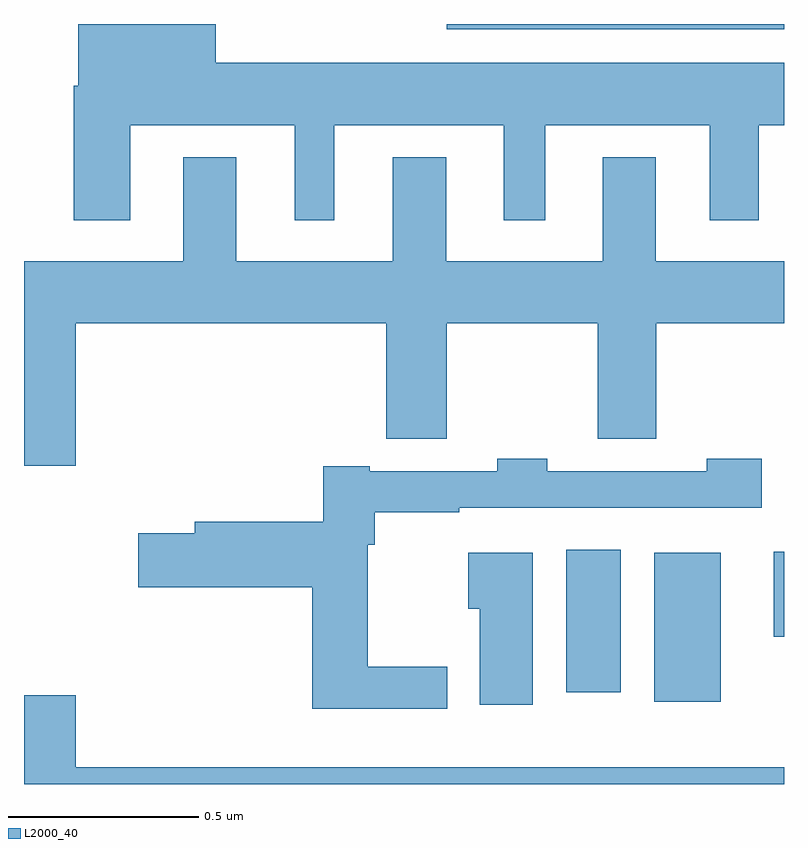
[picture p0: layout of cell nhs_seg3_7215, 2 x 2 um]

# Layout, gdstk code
import gdstk
lib = gdstk.Library(unit=1e-6, precision=1e-09)
def R(c, l, rs):  # rectangles x0, y0, x1, y1
    for r in rs: c.add(gdstk.rectangle(r[:2], r[2:], *l))
def P(c, l, *ps):  # polygons
    for p in ps: c.add(gdstk.Polygon(p, *l))
L2000_40 = (2000, 40)

nhs_seg3_7215 = lib.new_cell('nhs_seg3_7215')
R(nhs_seg3_7215, L2000_40, [(202.658,670.616,202.834,671.008), (202.427,670.641,202.57,671.017), (202.973,670.787,203,671.011), (202.113,672.386,203,672.4)])
P(nhs_seg3_7215, L2000_40, [(201.28,672.134),(201.713,672.134),(201.713,671.883),(201.817,671.883),(201.817,672.134),(202.262,672.134),(202.262,671.883),(202.372,671.883),(202.372,672.134),(202.805,672.134),(202.805,671.883),(202.933,671.883),(202.933,672.134),(203,672.134),(203,672.298),(201.505,672.298),(201.505,672.4),(201.143,672.4),(201.143,672.238),(201.131,672.238),(201.131,671.883),(201.28,671.883)],
  [(201.136,671.612),(201.953,671.612),(201.953,671.308),(202.112,671.308),(202.112,671.612),(202.51,671.612),(202.51,671.308),(202.664,671.308),(202.664,671.612),(203,671.612),(203,671.776),(202.663,671.776),(202.663,672.049),(202.523,672.049),(202.523,671.776),(202.111,671.776),(202.111,672.049),(201.971,672.049),(201.971,671.776),(201.559,671.776),(201.559,672.049),(201.419,672.049),(201.419,671.776),(201,671.776),(201,671.238),(201.136,671.238)],
  [(202.114,670.708),(201.904,670.708),(201.904,671.03),(201.923,671.03),(201.923,671.115),(202.145,671.115),(202.145,671.127),(202.942,671.127),(202.942,671.256),(202.797,671.256),(202.797,671.223),(202.377,671.223),(202.377,671.256),(202.245,671.256),(202.245,671.223),(201.91,671.223),(201.91,671.236),(201.787,671.236),(201.787,671.09),(201.449,671.09),(201.449,671.06),(201.3,671.06),(201.3,670.918),(201.758,670.918),(201.758,670.598),(202.114,670.598)],
  [(202.339,671.008),(202.169,671.008),(202.169,670.861),(202.199,670.861),(202.199,670.608),(202.339,670.608)],
  [(203,670.444),(201.136,670.444),(201.136,670.633),(201,670.633),(201,670.4),(203,670.4)])

lib.write_gds('nhs_seg3_7215.gds')
